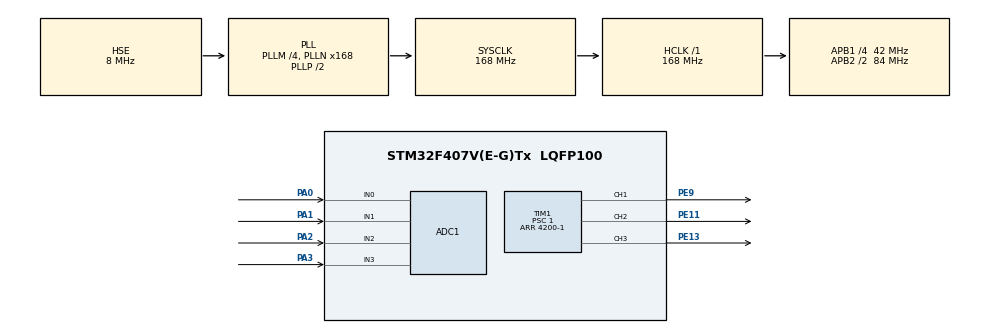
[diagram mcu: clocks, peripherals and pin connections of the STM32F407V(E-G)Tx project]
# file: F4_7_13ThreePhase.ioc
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ADC1.Channel-0\#ChannelRegularConversion=ADC_CHANNEL_0
ADC1.Channel-1\#ChannelRegularConversion=ADC_CHANNEL_1
ADC1.Channel-2\#ChannelRegularConversion=ADC_CHANNEL_2
ADC1.Channel-3\#ChannelRegularConversion=ADC_CHANNEL_3
ADC1.DMAContinuousRequests=ENABLE
ADC1.NbrOfConversion=4
ADC1.NbrOfConversionFlag=1
ADC1.Rank-0\#ChannelRegularConversion=1
ADC1.Rank-1\#ChannelRegularConversion=2
ADC1.Rank-2\#ChannelRegularConversion=3
ADC1.Rank-3\#ChannelRegularConversion=4
ADC1.SamplingTime-0\#ChannelRegularConversion=ADC_SAMPLETIME_28CYCLES
ADC1.SamplingTime-1\#ChannelRegularConversion=ADC_SAMPLETIME_28CYCLES
ADC1.SamplingTime-2\#ChannelRegularConversion=ADC_SAMPLETIME_28CYCLES
ADC1.SamplingTime-3\#ChannelRegularConversion=ADC_SAMPLETIME_28CYCLES
ADC1.ScanConvMode=ENABLE
ADC1.master=1
Dma.ADC1.0.Direction=DMA_PERIPH_TO_MEMORY
Dma.ADC1.0.FIFOMode=DMA_FIFOMODE_DISABLE
Dma.ADC1.0.Instance=DMA2_Stream0
Dma.ADC1.0.MemDataAlignment=DMA_MDATAALIGN_HALFWORD
Dma.ADC1.0.MemInc=DMA_MINC_ENABLE
Dma.ADC1.0.Mode=DMA_CIRCULAR
Dma.ADC1.0.PeriphDataAlignment=DMA_PDATAALIGN_HALFWORD
Dma.ADC1.0.PeriphInc=DMA_PINC_DISABLE
Dma.ADC1.0.Priority=DMA_PRIORITY_HIGH
Dma.Request0=ADC1
Mcu.Family=STM32F4
Mcu.Name=STM32F407V(E-G)Tx
Mcu.Package=LQFP100
NVIC.DMA2_Stream0_IRQn=true\:0\:0\:false\:false\:true\:false\:true\:true
NVIC.PriorityGroup=NVIC_PRIORITYGROUP_4
NVIC.TIM1_BRK_TIM9_IRQn=true\:0\:0\:false\:false\:true\:true\:true\:true
NVIC.TIM1_CC_IRQn=true\:0\:0\:false\:false\:true\:true\:true\:true
NVIC.TIM1_TRG_COM_TIM11_IRQn=true\:0\:0\:false\:false\:true\:true\:true\:true
NVIC.TIM1_UP_TIM10_IRQn=true\:0\:0\:false\:false\:true\:true\:true\:true
NVIC.TIM2_IRQn=true\:0\:0\:false\:false\:true\:true\:true\:true
NVIC.TIM3_IRQn=true\:0\:0\:false\:false\:true\:true\:true\:true
PA0-WKUP.Signal=ADCx_IN0
PA1.Signal=ADCx_IN1
PA13.Mode=Serial_Wire
PA13.Signal=SYS_JTMS-SWDIO
PA14.Mode=Serial_Wire
PA14.Signal=SYS_JTCK-SWCLK
PA2.Signal=ADCx_IN2
PA3.Signal=ADCx_IN3
PC14-OSC32_IN.Mode=LSE-External-Oscillator
PC14-OSC32_IN.Signal=RCC_OSC32_IN
PC15-OSC32_OUT.Mode=LSE-External-Oscillator
PC15-OSC32_OUT.Signal=RCC_OSC32_OUT
PE11.Signal=S_TIM1_CH2
PE13.Signal=S_TIM1_CH3
PE9.Signal=S_TIM1_CH1
PH0-OSC_IN.Mode=HSE-External-Oscillator
PH0-OSC_IN.Signal=RCC_OSC_IN
PH1-OSC_OUT.Mode=HSE-External-Oscillator
PH1-OSC_OUT.Signal=RCC_OSC_OUT
ProjectManager.HeapSize=0x200
ProjectManager.StackSize=0x400
ProjectManager.TargetToolchain=MDK-ARM V5.32
RCC.48MHZClocksFreq_Value=84000000
RCC.AHBFreq_Value=168000000
RCC.APB1CLKDivider=RCC_HCLK_DIV4
RCC.APB1Freq_Value=42000000
RCC.APB1TimFreq_Value=84000000
RCC.APB2CLKDivider=RCC_HCLK_DIV2
RCC.APB2Freq_Value=84000000
RCC.APB2TimFreq_Value=168000000
RCC.CortexFreq_Value=168000000
RCC.HCLKFreq_Value=168000000
RCC.HSE_VALUE=8000000
RCC.HSI_VALUE=16000000
RCC.PLLM=4
RCC.PLLN=168
RCC.PLLSourceVirtual=RCC_PLLSOURCE_HSE
RCC.SYSCLKFreq_VALUE=168000000
RCC.SYSCLKSource=RCC_SYSCLKSOURCE_PLLCLK
RCC.VCOOutputFreq_Value=336000000
SH.ADCx_IN0.0=ADC1_IN0,IN0
SH.ADCx_IN1.0=ADC1_IN1,IN1
SH.ADCx_IN2.0=ADC1_IN2,IN2
SH.ADCx_IN3.0=ADC1_IN3,IN3
SH.S_TIM1_CH1.0=TIM1_CH1,PWM Generation1 CH1
SH.S_TIM1_CH2.0=TIM1_CH2,PWM Generation2 CH2
SH.S_TIM1_CH3.0=TIM1_CH3,PWM Generation3 CH3
TIM1.AutoReloadPreload=TIM_AUTORELOAD_PRELOAD_ENABLE
TIM1.Channel-PWM\ Generation1\ CH1=TIM_CHANNEL_1
TIM1.Channel-PWM\ Generation2\ CH2=TIM_CHANNEL_2
TIM1.Channel-PWM\ Generation3\ CH3=TIM_CHANNEL_3
TIM1.CounterMode=TIM_COUNTERMODE_UP
TIM1.Period=4200-1
TIM1.Prescaler=1
TIM2.AutoReloadPreload=TIM_AUTORELOAD_PRELOAD_ENABLE
TIM2.Period=2100-1
TIM3.AutoReloadPreload=TIM_AUTORELOAD_PRELOAD_ENABLE
TIM3.Period=1050-1
VP_TIM1_VS_ClockSourceINT.Mode=Internal
VP_TIM2_VS_ClockSourceINT.Mode=Internal
VP_TIM3_VS_ClockSourceINT.Mode=Internal
board=custom

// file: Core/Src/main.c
/* USER CODE BEGIN Header */
/**
  ******************************************************************************
  * @file           : main.c
  * @brief          : Main program body
  ******************************************************************************
  * @attention
  *
  * Copyright (c) 2023 STMicroelectronics.
  * All rights reserved.
  *
  * This software is licensed under terms that can be found in the LICENSE file
  * in the root directory of this software component.
  * If no LICENSE file comes with this software, it is provided AS-IS.
  *
  ******************************************************************************
  */
/* USER CODE END Header */
#include "main.h"
#include "adc.h"
#include "dma.h"
#include "tim.h"
#include "gpio.h"

/* USER CODE BEGIN Includes */
#include "cleck.h"
#include "Svpwm.h"
#include "Ave_Sam.h"
#include "Park.h"
#include "math.h"
#include "PID.h"
/* USER CODE END Includes */

/* USER CODE BEGIN PTD */
CLECK Cleck;
PARK  Park;
float U_spwm,V_spwm,W_spwm,A_spwm,B_spwm,C_spwm;
float Sin_A,Sin_B,Sin_C;
uint16_t AD_Buf[4]={0};
float Udetc_f,Vdetc_f,Wdetc_f,U_phase,V_phase,U_phase,V_phase,W_phase,Un,Vn,Wn,U_data,V_data,W_data,U_Sin,V_Sin,W_Sin,UL;
float Theta1,sin_data,cos_data;
float Vdc=12.f;
float Um=6.f;
float Out;
uint16_t time_count;
float sumU,sumV,sumW;
float U_ref,V_ref,W_ref;
float x;
float Omega=-10.f;
float Uk;
/* USER CODE END PTD */

void SystemClock_Config(void);

int main(void)
{

  /* MCU Configuration--------------------------------------------------------*/

  /* Reset of all peripherals, Initializes the Flash interface and the Systick. */
  HAL_Init();

  /* Configure the system clock */
  SystemClock_Config();

  /* Initialize all configured peripherals */
  MX_GPIO_Init();
  MX_DMA_Init();
  MX_ADC1_Init();
  MX_TIM1_Init();
  MX_TIM2_Init();
  MX_TIM3_Init();
  /* USER CODE BEGIN 2 */
	HAL_TIM_Base_Start_IT(&htim2);
	HAL_TIM_Base_Start_IT(&htim3);
	HAL_TIM_Base_Start_IT(&htim1);
	HAL_TIM_PWM_Start(&htim1,TIM_CHANNEL_1);
	HAL_TIM_PWM_Start(&htim1,TIM_CHANNEL_2);
	HAL_TIM_PWM_Start(&htim1,TIM_CHANNEL_3);
  /* USER CODE END 2 */

  /* Infinite loop */
  while (1)
  {

  }
}

void SystemClock_Config(void)
{
  RCC_OscInitTypeDef RCC_OscInitStruct = {0};
  RCC_ClkInitTypeDef RCC_ClkInitStruct = {0};

  /** Configure the main internal regulator output voltage
  */
  __HAL_RCC_PWR_CLK_ENABLE();
  __HAL_PWR_VOLTAGESCALING_CONFIG(PWR_REGULATOR_VOLTAGE_SCALE1);

  /** Initializes the RCC Oscillators according to the specified parameters
  * in the RCC_OscInitTypeDef structure.
  */
  RCC_OscInitStruct.OscillatorType = RCC_OSCILLATORTYPE_HSE;
  RCC_OscInitStruct.HSEState = RCC_HSE_ON;
  RCC_OscInitStruct.PLL.PLLState = RCC_PLL_ON;
  RCC_OscInitStruct.PLL.PLLSource = RCC_PLLSOURCE_HSE;
  RCC_OscInitStruct.PLL.PLLM = 4;
  RCC_OscInitStruct.PLL.PLLN = 168;
  RCC_OscInitStruct.PLL.PLLP = RCC_PLLP_DIV2;
  RCC_OscInitStruct.PLL.PLLQ = 4;
  if (HAL_RCC_OscConfig(&RCC_OscInitStruct) != HAL_OK)
  {
    Error_Handler();
  }

  /** Initializes the CPU, AHB and APB buses clocks
  */
  RCC_ClkInitStruct.ClockType = RCC_CLOCKTYPE_HCLK|RCC_CLOCKTYPE_SYSCLK
                              |RCC_CLOCKTYPE_PCLK1|RCC_CLOCKTYPE_PCLK2;
  RCC_ClkInitStruct.SYSCLKSource = RCC_SYSCLKSOURCE_PLLCLK;
  RCC_ClkInitStruct.AHBCLKDivider = RCC_SYSCLK_DIV1;
  RCC_ClkInitStruct.APB1CLKDivider = RCC_HCLK_DIV4;
  RCC_ClkInitStruct.APB2CLKDivider = RCC_HCLK_DIV2;

  if (HAL_RCC_ClockConfig(&RCC_ClkInitStruct, FLASH_LATENCY_5) != HAL_OK)
  {
    Error_Handler();
  }
}

/* USER CODE BEGIN 4 */

void HAL_TIM_PeriodElapsedCallback(TIM_HandleTypeDef *htim)
{

	if(htim==&htim1)
	{
		Sin_Start(40000,5,12);
		HAL_ADC_Start_DMA(&hadc1,(uint32_t *)&AD_Buf,4);
		Udetc_f=(AD_Buf[0]/4096.0f*3.3f);
		Vdetc_f=(AD_Buf[1]/4096.0f*3.3f);

		U_ref=Ave_Sam_u(Udetc_f,20);
		V_ref=Ave_Sam_i(Vdetc_f,20);

		///////////////////对AD_Buf取平均
		U_data=(U_ref-1.654f)/0.0202f+1.f;
    V_data=(V_ref-1.654f)/0.41322f;
		PID();

//		TIM1->CCR1=2400;
	}
		if(htim==&htim2)
	{

	}

}
/* USER CODE END 4 */

void Error_Handler(void)
{
  __disable_irq();
  while (1)
  {
  }
}
